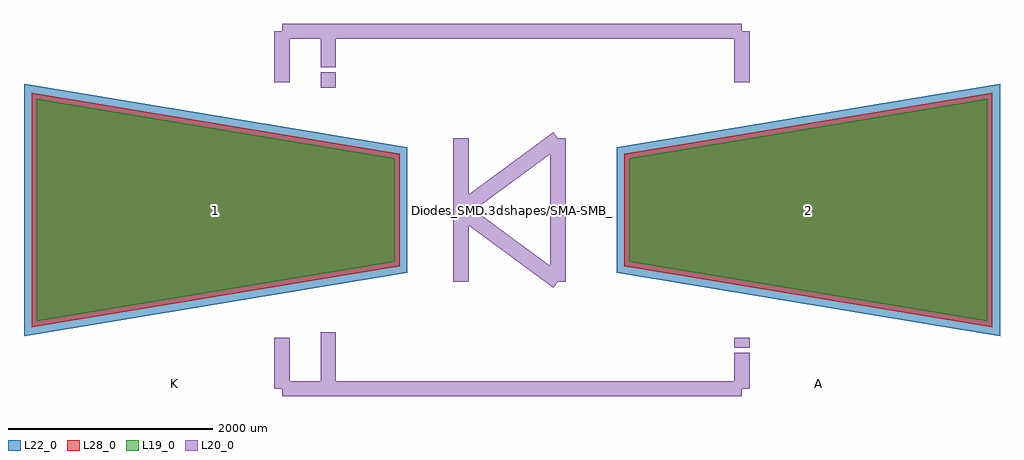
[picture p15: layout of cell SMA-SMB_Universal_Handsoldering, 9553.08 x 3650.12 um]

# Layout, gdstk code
import gdstk
lib = gdstk.Library(unit=1e-6, precision=1e-09)
def P(c, l, *ps):  # polygons
    for p in ps: c.add(gdstk.Polygon(p, *l))
L19_0 = (19, 0)
L20_0 = (20, 0)
L22_0 = (22, 0)
L28_0 = (28, 0)

sma_smb_universal_handso = lib.new_cell('SMA-SMB_Universal_Handsoldering')
P(sma_smb_universal_handso, L19_0, [(1149.82,-507.543),(1149.82,507.543),(4651.54,1090.34),(4651.54,-1090.34)],
  [(-4651.54,-1090.34),(-4651.54,1090.34),(-1149.82,507.543),(-1149.82,-507.543)])
P(sma_smb_universal_handso, L22_0, [(1024.82,-613.459),(1024.82,613.459),(4776.54,1237.864),(4776.54,-1237.864)],
  [(-4776.54,-1237.864),(-4776.54,1237.864),(-1024.82,613.459),(-1024.82,-613.459)])
P(sma_smb_universal_handso, L28_0, [(1099.82,-549.91),(1099.82,549.91),(4701.54,1149.35),(4701.54,-1149.35)],
  [(-4701.54,-1149.35),(-4701.54,1149.35),(-1099.82,549.91),(-1099.82,-549.91)])
sma_smb_universal_handso.add(gdstk.FlexPath([(-2250.44,1750.06),(2250.44,1750.06)], 149.998, ends="flush", simple_path=True, layer=20, datatype=0))  # L20_0
sma_smb_universal_handso.add(gdstk.FlexPath([(-2250.44,-1750.06),(2250.44,-1750.06)], 149.998, ends="flush", simple_path=True, layer=20, datatype=0))  # L20_0
sma_smb_universal_handso.add(gdstk.FlexPath([(2250.44,1750.06),(2250.44,1399.54)], 149.998, ends="flush", simple_path=True, layer=20, datatype=0))  # L20_0
sma_smb_universal_handso.add(gdstk.FlexPath([(-2250.44,1750.06),(-2250.44,1399.54)], 149.998, ends="flush", simple_path=True, layer=20, datatype=0))  # L20_0
sma_smb_universal_handso.add(gdstk.FlexPath([(-2250.44,-1750.06),(-2250.44,-1399.54)], 149.998, ends="flush", simple_path=True, layer=20, datatype=0))  # L20_0
sma_smb_universal_handso.add(gdstk.FlexPath([(2250.44,-1750.06),(2250.44,-1399.54)], 149.998, ends="flush", simple_path=True, layer=20, datatype=0))  # L20_0
sma_smb_universal_handso.add(gdstk.FlexPath([(-1799.14,1750.06),(-1799.14,1399.54)], 149.998, ends="flush", simple_path=True, layer=20, datatype=0))  # L20_0
sma_smb_universal_handso.add(gdstk.FlexPath([(-1799.14,-1750.06),(-1799.14,-1399.54)], 149.998, ends="flush", simple_path=True, layer=20, datatype=0))  # L20_0
sma_smb_universal_handso.add(gdstk.FlexPath([(2250.44,1399.54),(2250.44,1249.68)], 149.998, ends="flush", simple_path=True, layer=20, datatype=0))  # L20_0
sma_smb_universal_handso.add(gdstk.FlexPath([(-1799.14,1348.74),(-1799.14,1198.88)], 149.998, ends="flush", simple_path=True, layer=20, datatype=0))  # L20_0
sma_smb_universal_handso.add(gdstk.FlexPath([(2250.44,-1348.74),(2250.44,-1249.68)], 149.998, ends="flush", simple_path=True, layer=20, datatype=0))  # L20_0
sma_smb_universal_handso.add(gdstk.FlexPath([(-1799.14,-1399.54),(-1799.14,-1198.88)], 149.998, ends="flush", simple_path=True, layer=20, datatype=0))  # L20_0
sma_smb_universal_handso.add(gdstk.FlexPath([(-2250.44,1399.54),(-2250.44,1249.68)], 149.998, ends="flush", simple_path=True, layer=20, datatype=0))  # L20_0
sma_smb_universal_handso.add(gdstk.FlexPath([(-2250.44,-1399.54),(-2250.44,-1249.68)], 149.998, ends="flush", simple_path=True, layer=20, datatype=0))  # L20_0
sma_smb_universal_handso.add(gdstk.FlexPath([(-499.58,701.04),(-499.58,-701.04)], 149.998, ends="flush", simple_path=True, layer=20, datatype=0))  # L20_0
sma_smb_universal_handso.add(gdstk.FlexPath([(450.38,-701.04),(-499.58,0)], 149.998, ends="flush", simple_path=True, layer=20, datatype=0))  # L20_0
sma_smb_universal_handso.add(gdstk.FlexPath([(450.38,701.04),(450.38,-701.04)], 149.998, ends="flush", simple_path=True, layer=20, datatype=0))  # L20_0
sma_smb_universal_handso.add(gdstk.FlexPath([(-499.58,0),(450.38,701.04)], 149.998, ends="flush", simple_path=True, layer=20, datatype=0))  # L20_0
sma_smb_universal_handso.add(gdstk.Label('Diodes_SMD.3dshapes/SMA-SMB_Universal_Handsoldering.wrl', (0,0), layer=12, texttype=0))
sma_smb_universal_handso.add(gdstk.Label('2', (2900.68,0), layer=28, texttype=0))
sma_smb_universal_handso.add(gdstk.Label('1', (-2900.68,0), layer=28, texttype=0))
sma_smb_universal_handso.add(gdstk.Label('A', (2999.74,-1699.26), layer=9, texttype=0))
sma_smb_universal_handso.add(gdstk.Label('K', (-3300,-1700), layer=9, texttype=0))
sma_smb_universal_handso.add(gdstk.Label('type', (0,-3810), layer=9, texttype=0))
sma_smb_universal_handso.add(gdstk.Label('devicename', (0,3810), layer=9, texttype=0))

lib.write_gds('SMA-SMB_Universal_Handsoldering.gds')
